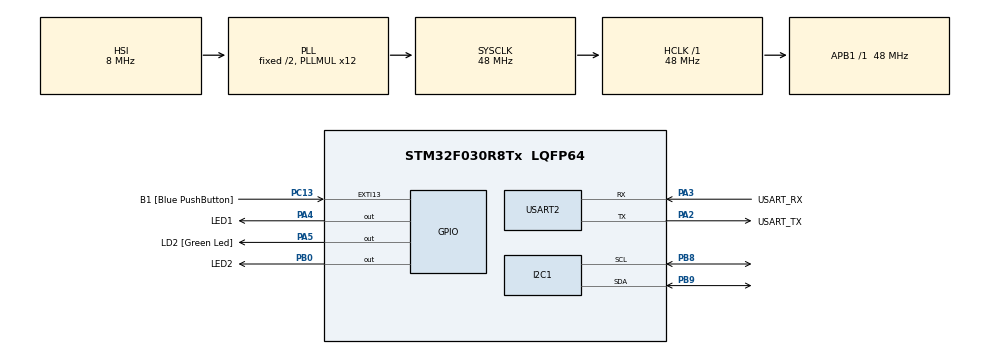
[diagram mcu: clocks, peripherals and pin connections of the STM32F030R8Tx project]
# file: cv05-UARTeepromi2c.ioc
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Dma.Request0=USART2_RX
Dma.USART2_RX.0.Direction=DMA_PERIPH_TO_MEMORY
Dma.USART2_RX.0.Instance=DMA1_Channel5
Dma.USART2_RX.0.MemDataAlignment=DMA_MDATAALIGN_BYTE
Dma.USART2_RX.0.MemInc=DMA_MINC_ENABLE
Dma.USART2_RX.0.Mode=DMA_CIRCULAR
Dma.USART2_RX.0.PeriphDataAlignment=DMA_PDATAALIGN_BYTE
Dma.USART2_RX.0.PeriphInc=DMA_PINC_DISABLE
Dma.USART2_RX.0.Priority=DMA_PRIORITY_LOW
Mcu.Family=STM32F0
Mcu.Name=STM32F030R8Tx
Mcu.Package=LQFP64
NVIC.DMA1_Channel4_5_IRQn=true\:0\:0\:false\:false\:true\:false\:true\:true
PA13.GPIO_Label=TMS
PA13.Mode=Serial_Wire
PA13.Signal=SYS_SWDIO
PA14.GPIO_Label=TCK
PA14.Mode=Serial_Wire
PA14.Signal=SYS_SWCLK
PA2.GPIO_Label=USART_TX
PA2.GPIO_Mode=GPIO_MODE_AF_PP
PA2.GPIO_PuPd=GPIO_NOPULL
PA2.GPIO_Speed=GPIO_SPEED_FREQ_LOW
PA2.Mode=Asynchronous
PA2.Signal=USART2_TX
PA3.GPIO_Label=USART_RX
PA3.GPIO_Mode=GPIO_MODE_AF_PP
PA3.GPIO_PuPd=GPIO_NOPULL
PA3.GPIO_Speed=GPIO_SPEED_FREQ_LOW
PA3.Mode=Asynchronous
PA3.Signal=USART2_RX
PA4.GPIO_Label=LED1
PA4.Signal=GPIO_Output
PA5.GPIO_Label=LD2 [Green Led]
PA5.GPIO_Mode=GPIO_MODE_OUTPUT_PP
PA5.GPIO_PuPd=GPIO_NOPULL
PA5.GPIO_Speed=GPIO_SPEED_FREQ_LOW
PA5.Signal=GPIO_Output
PB0.GPIO_Label=LED2
PB0.Signal=GPIO_Output
PB8.Mode=I2C
PB8.Signal=I2C1_SCL
PB9.Mode=I2C
PB9.Signal=I2C1_SDA
PC13.GPIO_Label=B1 [Blue PushButton]
PC13.GPIO_ModeDefaultEXTI=GPIO_MODE_IT_FALLING
PC13.Signal=GPXTI13
PC14-OSC32_IN.Mode=LSE-External-Oscillator
PC14-OSC32_IN.Signal=RCC_OSC32_IN
PC15-OSC32_OUT.Mode=LSE-External-Oscillator
PC15-OSC32_OUT.Signal=RCC_OSC32_OUT
PF0-OSC_IN.Mode=HSE-External-Clock-Source
PF0-OSC_IN.Signal=RCC_OSC_IN
PF1-OSC_OUT.Signal=RCC_OSC_OUT
ProjectManager.HeapSize=0x200
ProjectManager.StackSize=0x400
ProjectManager.TargetToolchain=STM32CubeIDE
RCC.AHBFreq_Value=48000000
RCC.APB1Freq_Value=48000000
RCC.APB1TimFreq_Value=48000000
RCC.HCLKFreq_Value=48000000
RCC.PLLMUL=RCC_PLL_MUL12
RCC.SYSCLKFreq_VALUE=48000000
RCC.SYSCLKSource=RCC_SYSCLKSOURCE_PLLCLK
USART2.VirtualMode-Asynchronous=VM_ASYNC
board=NUCLEO-F030R8

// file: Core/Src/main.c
/* USER CODE BEGIN Header */
/**
 ******************************************************************************
 * @file           : main.c
 * @brief          : Main program body
 ******************************************************************************
 * @attention
 *
 * Copyright (c) 2023 STMicroelectronics.
 * All rights reserved.
 *
 * This software is licensed under terms that can be found in the LICENSE file
 * in the root directory of this software component.
 * If no LICENSE file comes with this software, it is provided AS-IS.
 *
 ******************************************************************************
 */
/* USER CODE END Header */
#include "main.h"

/* USER CODE BEGIN Includes */
#include "stdio.h"
#include "string.h"
#include "stdlib.h"
/* USER CODE END Includes */

/* USER CODE BEGIN PD */
#define CMD_BUFFER_LEN 256
#define RX_BUFFER_LEN 64
#define EEPROM_ADDR 0xA0
#define uart_rx_write_ptr (RX_BUFFER_LEN - hdma_usart2_rx.Instance->CNDTR)  //definice pointru
/* USER CODE END PD */

I2C_HandleTypeDef hi2c1;

UART_HandleTypeDef huart2;
DMA_HandleTypeDef hdma_usart2_rx;

/* USER CODE BEGIN PV */

static uint8_t uart_rx_buf[RX_BUFFER_LEN]; //definice samorneho bafru
static volatile uint16_t uart_rx_read_ptr = 0;

/* USER CODE END PV */

void SystemClock_Config(void);
static void MX_GPIO_Init(void);
static void MX_DMA_Init(void);
static void MX_USART2_UART_Init(void);
static void MX_I2C1_Init(void);
/* USER CODE BEGIN PFP */
int _write(int file, char const *buf, int n) {
	/* stdout redirection to UART2 */
	HAL_UART_Transmit(&huart2, (uint8_t*) (buf), n, HAL_MAX_DELAY);
	return n;
}

static void uart_process_command(char *cmd) {
	char *token;
	token = strtok(cmd, " ");

	if (strcasecmp(token, "HELLO") == 0) { // budeme porovnavat token se slovem HELLO
		printf("budliky OK\n"); //v pripade, ze bude odpovidat dame generujeme OK
	} else if (strcasecmp(token, "LED1") == 0) { //if 0 command sedi
		token = strtok(NULL, " ");
		if (strcasecmp(token, "ON") == 0)
			HAL_GPIO_WritePin(LED1_GPIO_Port, LED1_Pin, GPIO_PIN_SET);
		else if (strcasecmp(token, "OFF") == 0)
			HAL_GPIO_WritePin(LED1_GPIO_Port, LED1_Pin, GPIO_PIN_RESET);
		printf("OK\n");
	} else if (strcasecmp(token, "LED2") == 0) {
		token = strtok(NULL, " ");
		if (strcasecmp(token, "ON") == 0)
			HAL_GPIO_WritePin(LED2_GPIO_Port, LED2_Pin, GPIO_PIN_SET);
		else if (strcasecmp(token, "OFF") == 0)
			HAL_GPIO_WritePin(LED2_GPIO_Port, LED2_Pin, GPIO_PIN_RESET);
		printf("OK\n");
		;

	} else if (strcasecmp(token, "STATUS") == 0) {
		if (HAL_GPIO_ReadPin(LED1_GPIO_Port, LED1_Pin))
			printf("LED1 ON; ");
		else
			printf("LED1 OFF; ");

		if (HAL_GPIO_ReadPin(LED2_GPIO_Port, LED2_Pin))
			printf("LED2 ON\n");
		else
			printf("LED2 OFF\n");
	} else if (strcasecmp(token, "READ") == 0) {
		token = strtok(NULL, " ");
		uint16_t addr = atoi(token);
		uint8_t value;

		HAL_I2C_Mem_Read(&hi2c1, EEPROM_ADDR, addr, I2C_MEMADD_SIZE_16BIT,
				&value, 1, 1000);  //cteni

		printf("Adresa 0x%04X = 0x%02X\n", addr, value);
	} else if (strcasecmp(token, "WRITE") == 0) {
		token = strtok(NULL, " ");
		uint16_t addr = atoi(token);
		token = strtok(NULL, " ");
		uint8_t value = atoi(token);

		HAL_I2C_Mem_Write(&hi2c1, EEPROM_ADDR, addr, I2C_MEMADD_SIZE_16BIT,
				&value, 1, 1000);
		while (HAL_I2C_IsDeviceReady(&hi2c1, EEPROM_ADDR, 300, 1000)
				== HAL_TIMEOUT) {
		}

		printf("WRITE OK\n");
	} else if (strcasecmp(token, "DUMP") == 0) {
		uint16_t addr;
		uint8_t value;

		for (addr = 0; addr < 16; addr++) {
			if (addr == 8) {
				printf("\n");
			}
			HAL_I2C_Mem_Read(&hi2c1, EEPROM_ADDR, addr, I2C_MEMADD_SIZE_16BIT,
					&value, 1, 1000);
			printf("%02X ", value);
		}
		printf("\n");
	}

	else {
		printf("Neplatny prikaz\n");
	}
}

/* USER CODE END PFP */

/* USER CODE BEGIN 0 */
static void uart_byte_available(uint8_t c) {
	static uint16_t cnt;
	static char data[CMD_BUFFER_LEN];
	if (cnt < CMD_BUFFER_LEN && c >= 32 && c <= 126)
		data[cnt++] = c;

	if ((c == '\n' || c == '\r') && cnt > 0) {
		data[cnt] = '\0';
		uart_process_command(data);
		cnt = 0;
	}
}
/* USER CODE END 0 */

int main(void) {

	/* MCU Configuration--------------------------------------------------------*/

	/* Reset of all peripherals, Initializes the Flash interface and the Systick. */
	HAL_Init();

	/* Configure the system clock */
	SystemClock_Config();

	/* Initialize all configured peripherals */
	MX_GPIO_Init();
	MX_DMA_Init();
	MX_USART2_UART_Init();
	MX_I2C1_Init();

	/* Infinite loop */
	/* USER CODE BEGIN WHILE */
	HAL_UART_Receive_DMA(&huart2, uart_rx_buf, RX_BUFFER_LEN);

	while (1) {
		while (uart_rx_read_ptr != uart_rx_write_ptr) {
			uint8_t b = uart_rx_buf[uart_rx_read_ptr];
			if (++uart_rx_read_ptr >= RX_BUFFER_LEN)
				uart_rx_read_ptr = 0; // increase read pointer
			uart_byte_available(b); // process every received byte with the RX state machine
		}
		/* USER CODE END WHILE */

	}
}

void SystemClock_Config(void) {
	RCC_OscInitTypeDef RCC_OscInitStruct = { 0 };
	RCC_ClkInitTypeDef RCC_ClkInitStruct = { 0 };
	RCC_PeriphCLKInitTypeDef PeriphClkInit = { 0 };

	/** Initializes the RCC Oscillators according to the specified parameters
	 * in the RCC_OscInitTypeDef structure.
	 */
	RCC_OscInitStruct.OscillatorType = RCC_OSCILLATORTYPE_HSI;
	RCC_OscInitStruct.HSIState = RCC_HSI_ON;
	RCC_OscInitStruct.HSICalibrationValue = RCC_HSICALIBRATION_DEFAULT;
	RCC_OscInitStruct.PLL.PLLState = RCC_PLL_ON;
	RCC_OscInitStruct.PLL.PLLSource = RCC_PLLSOURCE_HSI;
	RCC_OscInitStruct.PLL.PLLMUL = RCC_PLL_MUL12;
	RCC_OscInitStruct.PLL.PREDIV = RCC_PREDIV_DIV1;
	if (HAL_RCC_OscConfig(&RCC_OscInitStruct) != HAL_OK) {
		Error_Handler();
	}

	/** Initializes the CPU, AHB and APB buses clocks
	 */
	RCC_ClkInitStruct.ClockType = RCC_CLOCKTYPE_HCLK | RCC_CLOCKTYPE_SYSCLK
			| RCC_CLOCKTYPE_PCLK1;
	RCC_ClkInitStruct.SYSCLKSource = RCC_SYSCLKSOURCE_PLLCLK;
	RCC_ClkInitStruct.AHBCLKDivider = RCC_SYSCLK_DIV1;
	RCC_ClkInitStruct.APB1CLKDivider = RCC_HCLK_DIV1;

	if (HAL_RCC_ClockConfig(&RCC_ClkInitStruct, FLASH_LATENCY_1) != HAL_OK) {
		Error_Handler();
	}
	PeriphClkInit.PeriphClockSelection = RCC_PERIPHCLK_I2C1;
	PeriphClkInit.I2c1ClockSelection = RCC_I2C1CLKSOURCE_HSI;
	if (HAL_RCCEx_PeriphCLKConfig(&PeriphClkInit) != HAL_OK) {
		Error_Handler();
	}
}

static void MX_I2C1_Init(void) {

	hi2c1.Instance = I2C1;
	hi2c1.Init.Timing = 0x2000090E;
	hi2c1.Init.OwnAddress1 = 0;
	hi2c1.Init.AddressingMode = I2C_ADDRESSINGMODE_7BIT;
	hi2c1.Init.DualAddressMode = I2C_DUALADDRESS_DISABLE;
	hi2c1.Init.OwnAddress2 = 0;
	hi2c1.Init.OwnAddress2Masks = I2C_OA2_NOMASK;
	hi2c1.Init.GeneralCallMode = I2C_GENERALCALL_DISABLE;
	hi2c1.Init.NoStretchMode = I2C_NOSTRETCH_DISABLE;
	if (HAL_I2C_Init(&hi2c1) != HAL_OK) {
		Error_Handler();
	}

	/** Configure Analogue filter
	 */
	if (HAL_I2CEx_ConfigAnalogFilter(&hi2c1, I2C_ANALOGFILTER_ENABLE)
			!= HAL_OK) {
		Error_Handler();
	}

	/** Configure Digital filter
	 */
	if (HAL_I2CEx_ConfigDigitalFilter(&hi2c1, 0) != HAL_OK) {
		Error_Handler();
	}

}

static void MX_USART2_UART_Init(void) {

	huart2.Instance = USART2;
	huart2.Init.BaudRate = 38400;
	huart2.Init.WordLength = UART_WORDLENGTH_8B;
	huart2.Init.StopBits = UART_STOPBITS_1;
	huart2.Init.Parity = UART_PARITY_NONE;
	huart2.Init.Mode = UART_MODE_TX_RX;
	huart2.Init.HwFlowCtl = UART_HWCONTROL_NONE;
	huart2.Init.OverSampling = UART_OVERSAMPLING_16;
	huart2.Init.OneBitSampling = UART_ONE_BIT_SAMPLE_DISABLE;
	huart2.AdvancedInit.AdvFeatureInit = UART_ADVFEATURE_NO_INIT;
	if (HAL_UART_Init(&huart2) != HAL_OK) {
		Error_Handler();
	}

}

static void MX_DMA_Init(void) {

	/* DMA controller clock enable */
	__HAL_RCC_DMA1_CLK_ENABLE();

	/* DMA interrupt init */
	/* DMA1_Channel4_5_IRQn interrupt configuration */
	HAL_NVIC_SetPriority(DMA1_Channel4_5_IRQn, 0, 0);
	HAL_NVIC_EnableIRQ(DMA1_Channel4_5_IRQn);

}

static void MX_GPIO_Init(void) {
	GPIO_InitTypeDef GPIO_InitStruct = { 0 };

	/* GPIO Ports Clock Enable */
	__HAL_RCC_GPIOC_CLK_ENABLE();
	__HAL_RCC_GPIOF_CLK_ENABLE();
	__HAL_RCC_GPIOA_CLK_ENABLE();
	__HAL_RCC_GPIOB_CLK_ENABLE();

	/*Configure GPIO pin Output Level */
	HAL_GPIO_WritePin(GPIOA, LED1_Pin | LD2_Pin, GPIO_PIN_RESET);

	/*Configure GPIO pin Output Level */
	HAL_GPIO_WritePin(LED2_GPIO_Port, LED2_Pin, GPIO_PIN_RESET);

	/*Configure GPIO pin : B1_Pin */
	GPIO_InitStruct.Pin = B1_Pin;
	GPIO_InitStruct.Mode = GPIO_MODE_IT_FALLING;
	GPIO_InitStruct.Pull = GPIO_NOPULL;
	HAL_GPIO_Init(B1_GPIO_Port, &GPIO_InitStruct);

	/*Configure GPIO pins : LED1_Pin LD2_Pin */
	GPIO_InitStruct.Pin = LED1_Pin | LD2_Pin;
	GPIO_InitStruct.Mode = GPIO_MODE_OUTPUT_PP;
	GPIO_InitStruct.Pull = GPIO_NOPULL;
	GPIO_InitStruct.Speed = GPIO_SPEED_FREQ_LOW;
	HAL_GPIO_Init(GPIOA, &GPIO_InitStruct);

	/*Configure GPIO pin : LED2_Pin */
	GPIO_InitStruct.Pin = LED2_Pin;
	GPIO_InitStruct.Mode = GPIO_MODE_OUTPUT_PP;
	GPIO_InitStruct.Pull = GPIO_NOPULL;
	GPIO_InitStruct.Speed = GPIO_SPEED_FREQ_LOW;
	HAL_GPIO_Init(LED2_GPIO_Port, &GPIO_InitStruct);

}

void Error_Handler(void) {
	__disable_irq();
	while (1) {
	}
}
